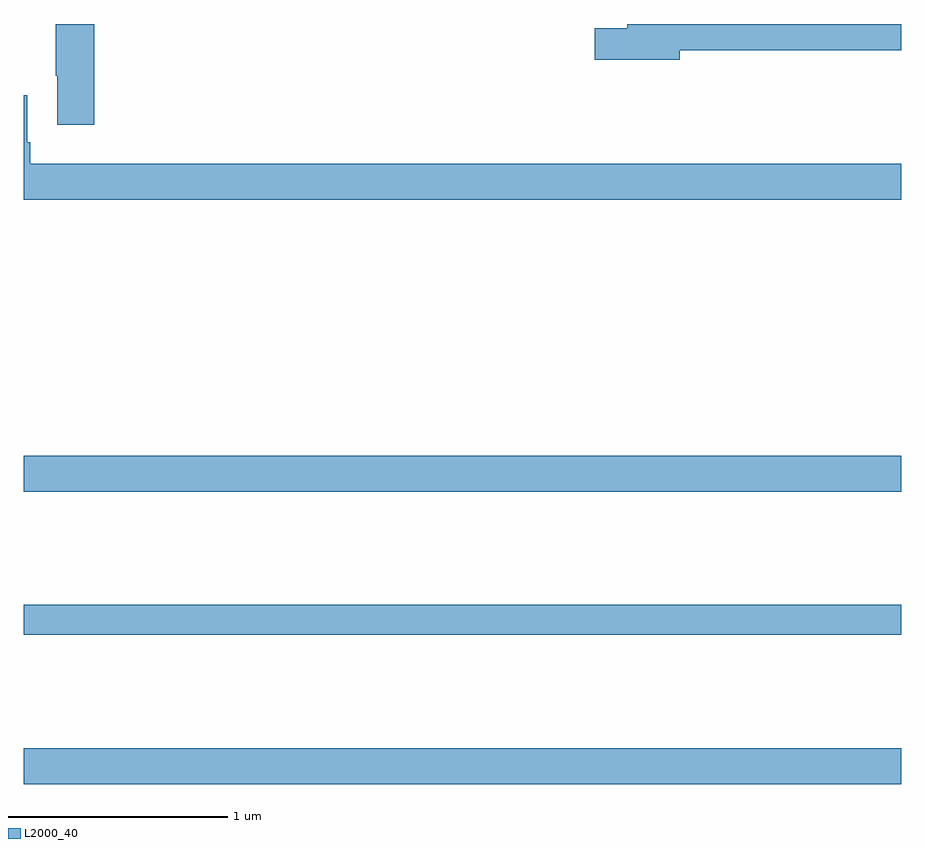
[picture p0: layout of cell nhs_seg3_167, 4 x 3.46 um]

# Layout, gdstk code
import gdstk
lib = gdstk.Library(unit=1e-6, precision=1e-09)
def R(c, l, rs):  # rectangles x0, y0, x1, y1
    for r in rs: c.add(gdstk.rectangle(r[:2], r[2:], *l))
def P(c, l, *ps):  # polygons
    for p in ps: c.add(gdstk.Polygon(p, *l))
L2000_40 = (2000, 40)

nhs_seg3_167 = lib.new_cell('nhs_seg3_167')
R(nhs_seg3_167, L2000_40, [(119,680.936,123,681.1), (119,681.616,123,681.752), (119,682.268,123,682.432)])
P(nhs_seg3_167, L2000_40, [(121.99,684.28),(123,684.28),(123,684.4),(121.751,684.4),(121.751,684.38),(121.602,684.38),(121.602,684.238),(121.99,684.238)],
  [(119.321,684.4),(119.146,684.4),(119.146,684.163),(119.153,684.163),(119.153,683.94),(119.321,683.94)],
  [(123,683.764),(119.03,683.764),(119.03,683.86),(119.017,683.86),(119.017,684.076),(119,684.076),(119,683.6),(123,683.6)])

lib.write_gds('nhs_seg3_167.gds')
